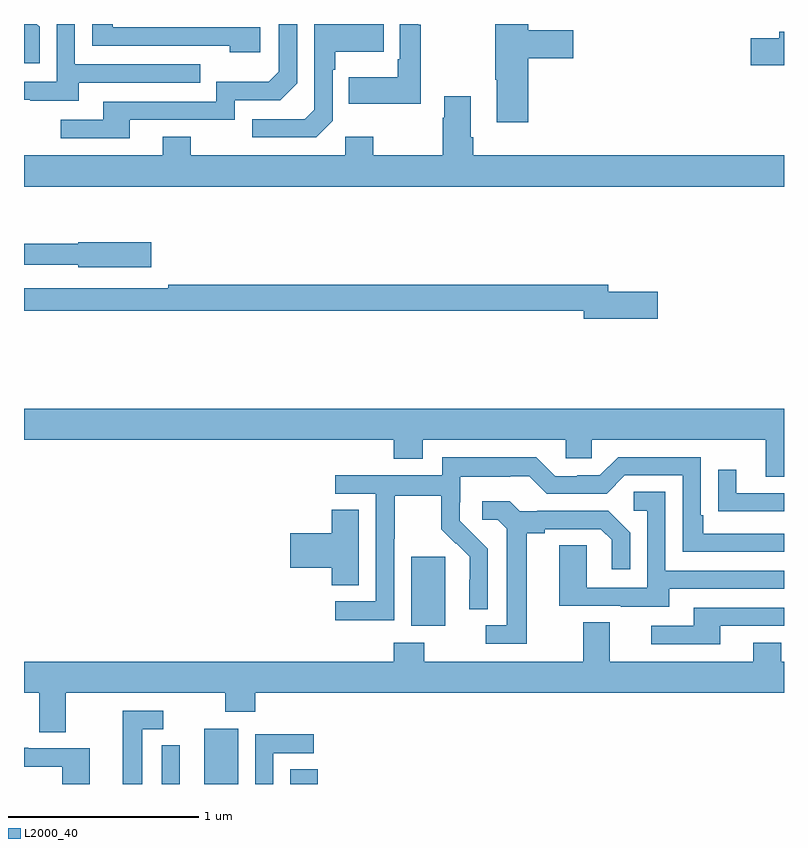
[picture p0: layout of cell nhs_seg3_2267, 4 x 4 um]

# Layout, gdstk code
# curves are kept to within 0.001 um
import gdstk
lib = gdstk.Library(unit=1e-6, precision=1e-09)
def R(c, l, rs):  # rectangles x0, y0, x1, y1
    for r in rs: c.add(gdstk.rectangle(r[:2], r[2:], *l))
def P(c, l, *ps):  # polygons
    for p in ps: c.add(gdstk.Polygon(p, *l))
L2000_40 = (2000, 40)

nhs_seg3_2267 = lib.new_cell('nhs_seg3_2267')
R(nhs_seg3_2267, L2000_40, [(227.948,736.4,228.127,736.69), (228.401,736.4,228.545,736.478), (229.037,737.234,229.216,737.595)])
P(nhs_seg3_2267, L2000_40, [(228.624,739.89),(228.624,740.159),(228.637,740.159),(228.637,740.255),(228.893,740.255),(228.893,740.4),(228.528,740.4),(228.528,739.95),(228.477,739.899),(228.201,739.899),(228.201,739.803),(228.537,739.803)],
  [(229.087,740.395),(229.075,740.395),(229.075,740.4),(228.978,740.4),(228.978,740.215),(228.966,740.215),(228.966,740.119),(228.709,740.119),(228.709,739.979),(229.087,739.979)],
  [(227.287,740.091),(227.927,740.091),(227.927,740.187),(227.268,740.187),(227.268,740.4),(227.172,740.4),(227.172,740.097),(227,740.097),(227,740.001),(227.033,740.001),(227.033,739.997),(227.287,739.997)],
  [(229.655,740.219),(229.891,740.219),(229.891,740.366),(229.655,740.366),(229.655,740.4),(229.48,740.4),(229.48,740.107),(229.487,740.107),(229.487,739.884),(229.655,739.884)],
  [(227.082,740.386),(227.068,740.4),(227,740.4),(227,740.193),(227.082,740.193)],
  [(228.244,740.382),(227.467,740.382),(227.467,740.4),(227.358,740.4),(227.358,740.286),(228.083,740.286),(228.083,740.252),(228.244,740.252)],
  [(227.557,739.896),(228.108,739.896),(228.108,739.998),(228.348,739.998),(228.438,740.088),(228.438,740.4),(228.342,740.4),(228.342,740.148),(228.289,740.095),(228.012,740.095),(228.012,739.992),(227.417,739.992),(227.417,739.896),(227.193,739.896),(227.193,739.8),(227.557,739.8)],
  [(231,740.36),(230.975,740.36),(230.975,740.324),(230.826,740.324),(230.826,740.182),(231,740.182)],
  [(231,739.708),(229.364,739.708),(229.364,739.804),(229.351,739.804),(229.351,740.02),(229.211,740.02),(229.211,739.907),(229.204,739.907),(229.204,739.708),(228.837,739.708),(228.837,739.807),(228.69,739.807),(228.69,739.708),(227.877,739.708),(227.877,739.807),(227.729,739.807),(227.729,739.708),(227,739.708),(227,739.544),(231,739.544)],
  [(227.671,739.251),(227.286,739.251),(227.286,739.243),(227,739.243),(227,739.134),(227.286,739.134),(227.286,739.121),(227.671,739.121)],
  [(230.335,738.992),(230.074,738.992),(230.074,739.028),(227.758,739.028),(227.758,739.008),(227,739.008),(227,738.892),(229.946,738.892),(229.946,738.85),(230.335,738.85)],
  [(231,738.376),(227,738.376),(227,738.212),(228.947,738.212),(228.947,738.113),(229.099,738.113),(229.099,738.212),(229.851,738.212),(229.851,738.114),(229.989,738.114),(229.989,738.212),(230.903,738.212),(230.903,738.018),(231,738.018)],
  [(228.948,737.692),(228.951,737.692),(228.951,737.916),(229.195,737.916),(229.195,737.741),(229.272,737.664),(229.275,737.667),(229.346,737.597),(229.346,737.474),(229.344,737.474),(229.344,737.32),(229.44,737.32),(229.44,737.638),(229.294,737.786),(229.294,737.883),(229.296,737.883),(229.296,738.017),(229.559,738.017),(229.559,738.021),(229.659,738.021),(229.752,737.928),(230.067,737.928),(230.163,738.024),(230.466,738.024),(230.466,737.622),(231,737.622),(231,737.718),(230.575,737.718),(230.575,737.815),(230.562,737.815),(230.562,738.12),(230.127,738.12),(230.031,738.024),(229.913,738.024),(229.913,738.021),(229.797,738.021),(229.697,738.121),(229.2,738.121),(229.2,738.024),(228.639,738.024),(228.639,737.928),(228.852,737.928),(228.852,737.361),(228.639,737.361),(228.639,737.263),(228.948,737.263)],
  [(231,737.931),(230.749,737.931),(230.749,738.055),(230.653,738.055),(230.653,737.836),(230.755,737.836),(230.755,737.835),(231,737.835)],
  [(230.395,737.427),(231,737.427),(231,737.523),(230.376,737.523),(230.376,737.939),(230.208,737.939),(230.208,737.838),(230.28,737.838),(230.28,737.433),(229.962,737.433),(229.962,737.657),(229.817,737.657),(229.817,737.337),(230.141,737.337),(230.141,737.333),(230.395,737.333)],
  [(229.645,737.72),(229.741,737.72),(229.741,737.742),(230.036,737.742),(230.093,737.685),(230.093,737.529),(230.19,737.529),(230.19,737.722),(230.074,737.838),(229.702,737.838),(229.702,737.835),(229.608,737.835),(229.556,737.887),(229.413,737.887),(229.413,737.79),(229.494,737.79),(229.541,737.743),(229.541,737.235),(229.431,737.235),(229.431,737.139),(229.645,737.139)],
  [(228.763,737.843),(228.62,737.843),(228.62,737.72),(228.402,737.72),(228.402,737.537),(228.62,737.537),(228.62,737.446),(228.763,737.446)],
  [(230.665,737.232),(231,737.232),(231,737.328),(230.525,737.328),(230.525,737.232),(230.301,737.232),(230.301,737.136),(230.665,737.136)],
  [(227.221,736.88),(228.058,736.88),(228.058,736.781),(228.218,736.781),(228.218,736.88),(231,736.88),(231,737.044),(230.985,737.044),(230.985,737.143),(230.837,737.143),(230.837,737.044),(230.083,737.044),(230.083,737.252),(229.943,737.252),(229.943,737.044),(229.107,737.044),(229.107,737.143),(228.947,737.143),(228.947,737.044),(227,737.044),(227,736.88),(227.081,736.88),(227.081,736.672),(227.221,736.672)],
  [(227.623,736.689),(227.734,736.689),(227.734,736.785),(227.519,736.785),(227.519,736.4),(227.623,736.4)],
  [(228.312,736.563),(228.526,736.563),(228.526,736.662),(228.216,736.662),(228.216,736.4),(228.312,736.4)],
  [(227.819,736.45),(227.82,736.45),(227.82,736.604),(227.724,736.604),(227.724,736.4),(227.819,736.4)],
  [(227.347,736.587),(227.023,736.587),(227.023,736.591),(227,736.591),(227,736.491),(227.202,736.491),(227.202,736.4),(227.347,736.4)])

lib.write_gds('nhs_seg3_2267.gds')
